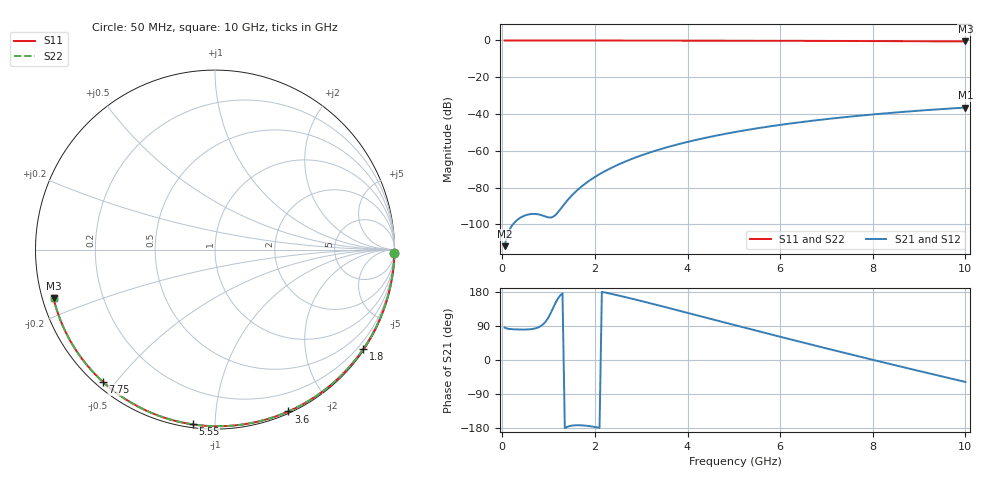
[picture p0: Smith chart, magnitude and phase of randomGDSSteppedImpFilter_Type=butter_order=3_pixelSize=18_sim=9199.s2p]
! freq	dB(S11)	phase(S11)	dB(S12)	phase(S12)
!  dB(S21)	phase(S21)	dB(S22)	phase(S22)
!S-par simulation data
#  GHz  S  DB  R 50
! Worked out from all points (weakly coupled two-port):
!   200 points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, 50 MHz to 10 GHz, reference 50 ohm
!   highest |S21| = -36.49 dB at 10 GHz (marker M1); lowest = -111.8 dB at 50 MHz (marker M2)
!   lowest |S11| = -0.5 dB at 10 GHz (marker M3), VSWR 32.19, Z = 1.59 - j7.39 ohm
!   |S11| at or under -10 dB: nowhere
!   |S22| runs from -0.5 to 0.0 dB; largest |S21 - S12| = 0
!   S11 on the Smith chart (normalised r, x): 50 MHz: open; 1.8 GHz: 0.03, -3.29; 3.6 GHz: 0.02, -1.55; 5.55 GHz: 0.02, -0.88; 7.75 GHz: 0.02, -0.46; 10 GHz: 0.03, -0.15
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0.05  -0.00 -1.0  -111.83 85.7  -111.83 85.7  -0.00 -1.0
0.45  -0.01 -8.6  -95.56 80.3  -95.56 80.3  -0.01 -8.6
0.85  -0.02 -16.1  -95.00 91.2  -95.00 91.2  -0.02 -16.1
1.65  -0.04 -31.0  -80.70 -172.1  -80.70 -172.1  -0.04 -31.0
1.7  -0.04 -31.9  -79.63 -172.3  -79.63 -172.3  -0.04 -31.9
1.75  -0.04 -32.9  -78.62 -172.7  -78.62 -172.7  -0.04 -32.9
1.8  -0.04 -33.8  -77.66 -173.3  -77.66 -173.3  -0.04 -33.8
2.1  -0.05 -39.2  -72.69 -179.0  -72.69 -179.0  -0.05 -39.2
2.3  -0.06 -42.8  -69.95 176.0  -69.95 176.0  -0.06 -42.8
2.5  -0.06 -46.4  -67.53 170.5  -67.53 170.5  -0.06 -46.4
2.9  -0.07 -53.5  -63.41 158.8  -63.41 158.8  -0.07 -53.5
3.4  -0.08 -62.2  -59.22 143.3  -59.22 143.3  -0.08 -62.2
3.6  -0.09 -65.6  -57.77 137.0  -57.77 137.0  -0.09 -65.6
4.3  -0.11 -77.3  -53.40 114.9  -53.40 114.9  -0.11 -77.3
5.05  -0.14 -89.4  -49.67 91.1  -49.67 91.1  -0.14 -89.4
5.55  -0.16 -97.3  -47.57 75.4  -47.57 75.4  -0.16 -97.3
6.1  -0.19 -105.7  -45.55 58.2  -45.55 58.2  -0.19 -105.7
6.7  -0.22 -114.8  -43.62 39.7  -43.62 39.7  -0.22 -114.8
7.75  -0.30 -130.2  -40.80 7.9  -40.80 7.9  -0.30 -130.2
8.35  -0.35 -139.0  -39.45 -9.9  -39.45 -9.9  -0.35 -139.0
9.2  -0.44 -151.3  -37.80 -34.8  -37.80 -34.8  -0.44 -151.3
10  -0.54 -163.2  -36.49 -58.0  -36.49 -58.0  -0.54 -163.2
